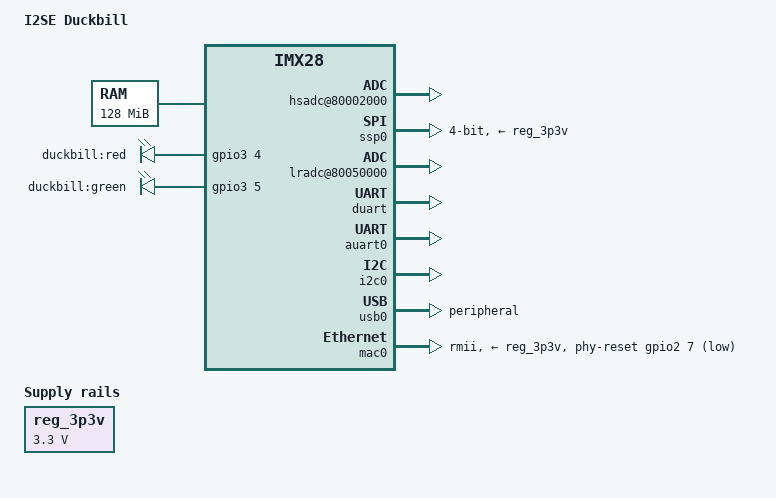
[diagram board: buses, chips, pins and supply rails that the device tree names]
/*
 * Copyright 2013 I2SE GmbH
 *
 * The code contained herein is licensed under the GNU General Public
 * License. You may obtain a copy of the GNU General Public License
 * Version 2 or later at the following locations:
 *
 * http://www.opensource.org/licenses/gpl-license.html
 * http://www.gnu.org/copyleft/gpl.html
 */

/dts-v1/;
/include/ "imx28.dtsi"

/ {
	model = "I2SE Duckbill";
	compatible = "i2se,imx28-duckbill", "fsl,imx28";

	memory {
		reg = <0x40000000 0x08000000>;
	};

	apb@80000000 {
		apbh@80000000 {
			hsadc@80002000 {
				status = "okay";
			};

			ssp0: ssp@80010000 {
				compatible = "fsl,imx28-mmc";
				pinctrl-names = "default";
				pinctrl-0 = <&mmc0_4bit_pins_a
					&mmc0_cd_cfg &mmc0_sck_cfg>;
				bus-width = <4>;
				vmmc-supply = <&reg_3p3v>;
				status = "okay";
			};

			pinctrl@80018000 {
				pinctrl-names = "default";
				pinctrl-0 = <&hog_pins_a>;

				hog_pins_a: hog@0 {
					reg = <0>;
					fsl,pinmux-ids = <
						0x2103 /* MX28_PAD_SSP2_SCK__GPIO_2_16 */
						0x2113 /* MX28_PAD_SSP2_MOSI__GPIO_2_17 */
						0x2123 /* MX28_PAD_SSP2_MISO__GPIO_2_18 */
						0x2133 /* MX28_PAD_SSP2_SS0__GPIO_2_19 */
						0x2143 /* MX28_PAD_SSP2_SS1__GPIO_2_20 */
						0x2153 /* MX28_PAD_SSP2_SS2__GPIO_2_21 */
					>;
					fsl,drive-strength = <0>;
					fsl,voltage = <1>;
					fsl,pull-up = <0>;
				};

				led_pins: led_pins@0 {
					reg = <0>;
					fsl,pinmux-ids = <
						0x3043 /* MX28_PAD_AUART1_RX__GPIO_3_4, LED_0 */
						0x3053 /* MX28_PAD_AUART1_TX__GPIO_3_5, LED_1 */
					>;
					fsl,drive-strength = <0>;
					fsl,voltage = <1>;
					fsl,pull-up = <0>;
				};
			};
		};

		apbx@80040000 {
			lradc@80050000 {
				status = "okay";
			};

			duart: serial@80074000 {
				pinctrl-names = "default";
				pinctrl-0 = <&duart_pins_a>;
				status = "okay";
			};

			auart0: serial@8006a000 {
				pinctrl-names = "default";
				pinctrl-0 = <&auart0_2pins_a>;
				status = "okay";
			};

			usbphy0: usbphy@8007c000 {
				status = "okay";
			};

			i2c0: i2c@80058000 {
				pinctrl-names = "default";
				pinctrl-0 = <&i2c0_pins_a>;
				status = "okay";
			};
		};
	};

	ahb@80080000 {
		usb0: usb@80080000 {
			status = "okay";
			dr_mode = "peripheral";
		};

		mac0: ethernet@800f0000 {
			phy-mode = "rmii";
			pinctrl-names = "default";
			pinctrl-0 = <&mac0_pins_a>;
			phy-supply = <&reg_3p3v>;
			phy-reset-gpios = <&gpio2 7 0>; /* MX28_PAD_SSP0_DATA7__GPIO_2_7 */
			phy-reset-duration = <100>;
			status = "okay";
		};
	};

	regulators {
		compatible = "simple-bus";
		#address-cells = <1>;
		#size-cells = <0>;

		reg_3p3v: regulator@0 {
			compatible = "regulator-fixed";
			reg = <0>;
			regulator-name = "3P3V";
			regulator-min-microvolt = <3300000>;
			regulator-max-microvolt = <3300000>;
			regulator-always-on;
		};
	};

	leds {
		compatible = "gpio-leds";
		pinctrl-names = "default";
		pinctrl-0 = <&led_pins>;

		led0 {			// Boot
			label = "duckbill:red";
			gpios = <&gpio3 4 0>;
			linux,default-trigger = "default-on";
		};

		led1 {			// Heartbeat
			label = "duckbill:green";
			gpios = <&gpio3 5 0>;
			linux,default-trigger = "heartbeat";
		};
	};
};
